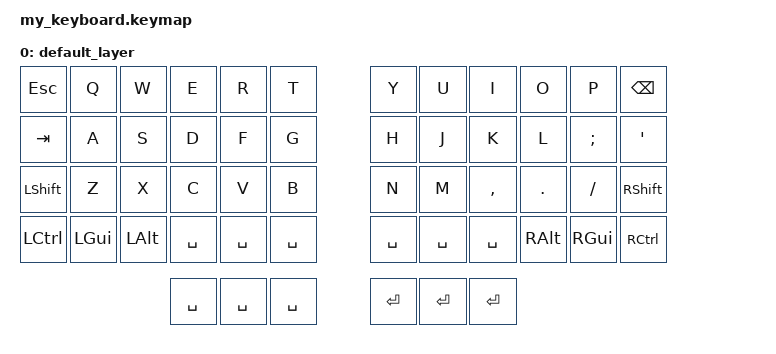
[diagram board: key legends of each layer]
#include <behaviors.dtsi>
#include <dt-bindings/zmk/keys.h>

/ {
    keymap {
        compatible = "zmk,keymap";

        default_layer {
            bindings = <
            // Row 0
            &kp ESC   &kp Q  &kp W  &kp E  &kp R  &kp T      &kp Y  &kp U  &kp I      &kp O    &kp P     &kp BSPC
            // Row 1
            &kp TAB   &kp A  &kp S  &kp D  &kp F  &kp G      &kp H  &kp J  &kp K      &kp L    &kp SEMI  &kp SQT
            // Row 2
            &kp LSHFT &kp Z  &kp X  &kp C  &kp V  &kp B      &kp N  &kp M  &kp COMMA  &kp DOT  &kp FSLH  &kp RSHFT
            // Row 3
            &kp LCTRL &kp LGUI &kp LALT &kp SPACE &kp SPACE &kp SPACE    &kp SPACE &kp SPACE &kp SPACE &kp RALT &kp RGUI &kp RCTRL
            // Row 4 (Thumb Cluster: 3 keys per side)
                                &kp SPACE &kp SPACE &kp SPACE    &kp ENTER &kp ENTER &kp ENTER
            >;
        };
    };
};
